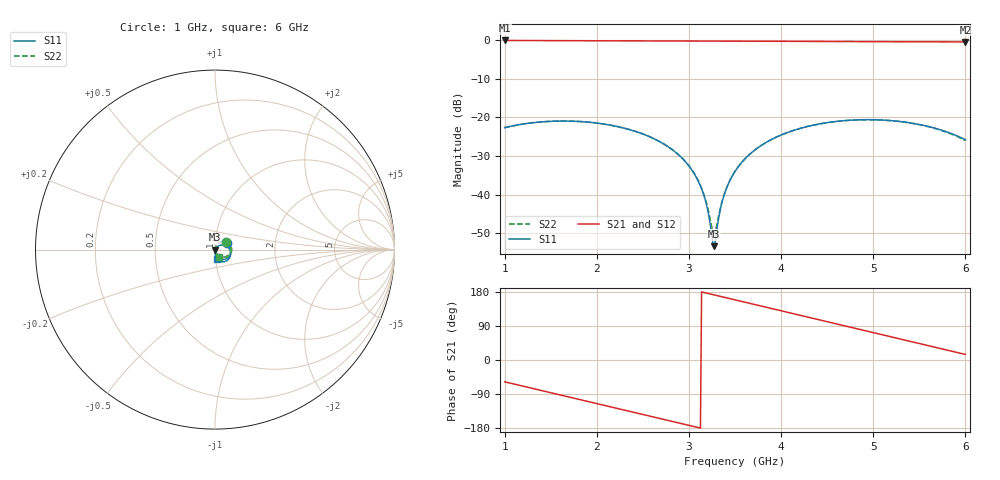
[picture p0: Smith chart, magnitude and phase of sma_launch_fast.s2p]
! kicad2ems line model, qucsator (sma_launch)
! ports: 1=P1, 2=P2
# Hz S RI R 50
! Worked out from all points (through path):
!   401 points, 1 GHz to 6 GHz, reference 50 ohm
!   highest |S21| = -0.10 dB at 1 GHz (marker M1); lowest = -0.5 dB at 6 GHz (marker M2)
!   group delay of S21, straight-line fit = 160 ps
!   lowest |S11| = -53.4 dB at 3.275 GHz (marker M3), VSWR 1.00, Z = 50.2 - j0.0482 ohm
!   |S11| at or under -10 dB: start of sweep to end of sweep
!   |S22| runs from -50.1 to -20.6 dB; largest |S21 - S12| = 0
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1e9  0.0648 0.0344  0.53 -0.8344  0.53 -0.8344  0.0593 0.0434
1.425e9  0.0876 0.00322  0.1378 -0.9739  0.1378 -0.9739  0.0852 0.0208
1.8375e9  0.081 -0.034  -0.2631 -0.9441  -0.2631 -0.9441  0.0871 -0.0122
2.2375e9  0.0516 -0.0547  -0.6088 -0.7649  -0.6088 -0.7649  0.0659 -0.0364
2.675e9  0.0149 -0.0466  -0.8743 -0.4324  -0.8743 -0.4324  0.0309 -0.0381
2.9125e9  0.00267 -0.0305  -0.9505 -0.2127  -0.9505 -0.2127  0.0146 -0.0271
3.075e9  -0.000483 -0.0171  -0.9714 -0.0548  -0.9714 -0.0548  0.00709 -0.0159
3.175e9  -8.28e-05 -0.00867  -0.9712 0.0432  -0.9712 0.0432  0.00431 -0.00795
3.25e9  0.00138 -0.00248  -0.9646 0.1164  -0.9646 0.1164  0.00325 -0.00174
3.275e9  0.00209 -0.00048  -0.9611 0.1407  -0.9611 0.1407  0.0031 0.000363
3.3e9  0.0029 0.00148  -0.9571 0.1648  -0.9571 0.1648  0.00305 0.00247
3.3375e9  0.00431 0.00434  -0.9498 0.2008  -0.9498 0.2008  0.00316 0.00563
3.375e9  0.00594 0.00709  -0.9412 0.2365  -0.9412 0.2365  0.0035 0.00877
3.425e9  0.00845 0.0105  -0.9276 0.2835  -0.9276 0.2835  0.00431 0.0129
3.5e9  0.0129 0.0152  -0.9028 0.3526  -0.9028 0.3526  0.00626 0.0189
3.6375e9  0.0227 0.0218  -0.8442 0.4732  -0.8442 0.4732  0.012 0.029
3.825e9  0.0384 0.0259  -0.7386 0.622  -0.7386 0.622  0.0238 0.0397
4.3375e9  0.0782 0.00718  -0.3338 0.8993  -0.3338 0.8993  0.0661 0.0424
4.75e9  0.0872 -0.0283  0.0558 0.953  0.0558 0.953  0.0901 0.0165
5.175e9  0.0684 -0.06  0.4431 0.8416  0.4431 0.8416  0.0883 -0.0207
5.6125e9  0.0334 -0.0676  0.7572 0.5715  0.7572 0.5715  0.0588 -0.0462
6e9  0.00895 -0.0504  0.916 0.2397  0.916 0.2397  0.0237 -0.0439
